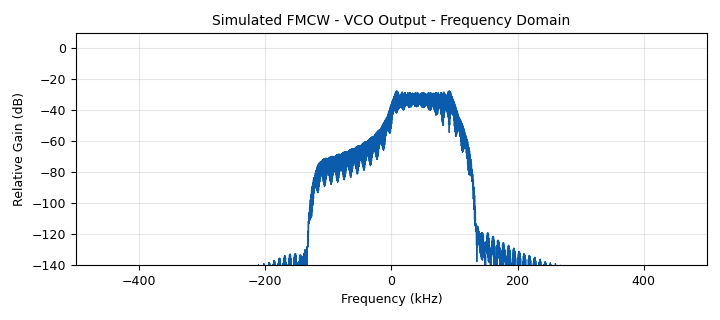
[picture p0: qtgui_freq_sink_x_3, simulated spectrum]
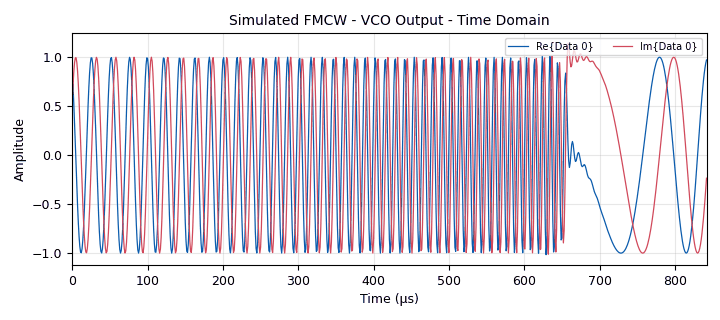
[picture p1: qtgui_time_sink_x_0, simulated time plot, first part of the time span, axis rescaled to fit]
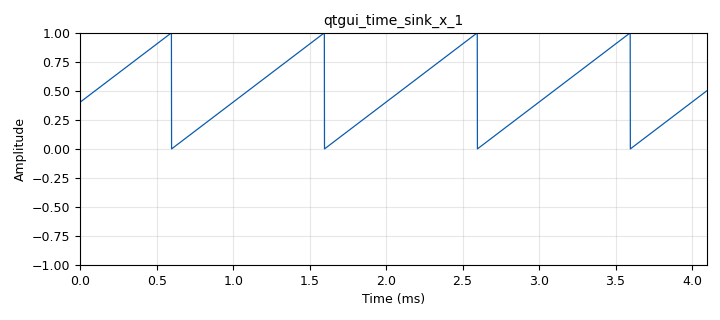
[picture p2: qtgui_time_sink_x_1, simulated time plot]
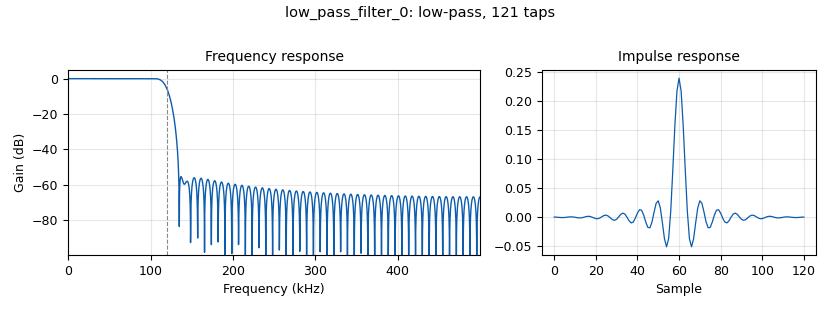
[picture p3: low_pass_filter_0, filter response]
options:
  parameters:
    author: atsy_
    generate_options: qt_gui
    id: audo_fmcw_test
    output_language: python
    title: Not titled yet
  states: {}

blocks:
- name: bw
  id: variable
  parameters:
    value: 100e3
  states: {}
- name: freq
  id: variable
  parameters:
    value: 1e3
  states: {}
- name: pi
  id: variable
  parameters:
    value: math.pi
  states: {}
- name: samp_rate
  id: variable
  parameters:
    value: 1e6
  states: {}
- name: vco_sensitivity
  id: variable
  parameters:
    value: 2*pi*bw
  states: {}
- name: analog_sig_source_x_0
  id: analog_sig_source_x
  parameters:
    amp: '1'
    freq: freq
    offset: '0'
    phase: '0'
    samp_rate: samp_rate
    type: float
    waveform: analog.GR_SAW_WAVE
  states: {}
- name: blocks_throttle2_1
  id: blocks_throttle2
  parameters:
    samples_per_second: samp_rate
    type: complex
  states: {}
- name: blocks_vco_c_0
  id: blocks_vco_c
  parameters:
    amplitude: '1.0'
    samp_rate: samp_rate
    sensitivity: vco_sensitivity
  states: {}
- name: import_0
  id: import
  parameters:
    imports: import math
  states: {}
- name: low_pass_filter_0
  id: low_pass_filter
  parameters:
    cutoff_freq: 120e3
    decim: '1'
    gain: '1'
    samp_rate: samp_rate
    type: fir_filter_ccf
    width: 20e3
    win: window.WIN_HAMMING
  states: {}
- name: qtgui_freq_sink_x_3
  id: qtgui_freq_sink_x
  parameters:
    bw: samp_rate
    fc: '0'
    fftsize: '4096'
    name: '"Simulated FMCW - VCO Output - Frequency Domain"'
    type: complex
  states: {}
- name: qtgui_time_sink_x_0
  id: qtgui_time_sink_x
  parameters:
    entags: 'False'
    label1: ''
    name: '"Simulated FMCW - VCO Output - Time Domain"'
    size: 1024*4
    srate: samp_rate
    type: complex
    update_time: '0.1'
    ylabel: ''
  states: {}
- name: qtgui_time_sink_x_1
  id: qtgui_time_sink_x
  parameters:
    size: 1024*4
    srate: samp_rate
    type: float
  states: {}

connections:
- [analog_sig_source_x_0, '0', blocks_vco_c_0, '0']
- [analog_sig_source_x_0, '0', qtgui_time_sink_x_1, '0']
- [blocks_throttle2_1, '0', low_pass_filter_0, '0']
- [blocks_vco_c_0, '0', blocks_throttle2_1, '0']
- [low_pass_filter_0, '0', qtgui_freq_sink_x_3, '0']
- [low_pass_filter_0, '0', qtgui_time_sink_x_0, '0']

metadata:
  file_format: 1
  grc_version: 3.10.10.0
